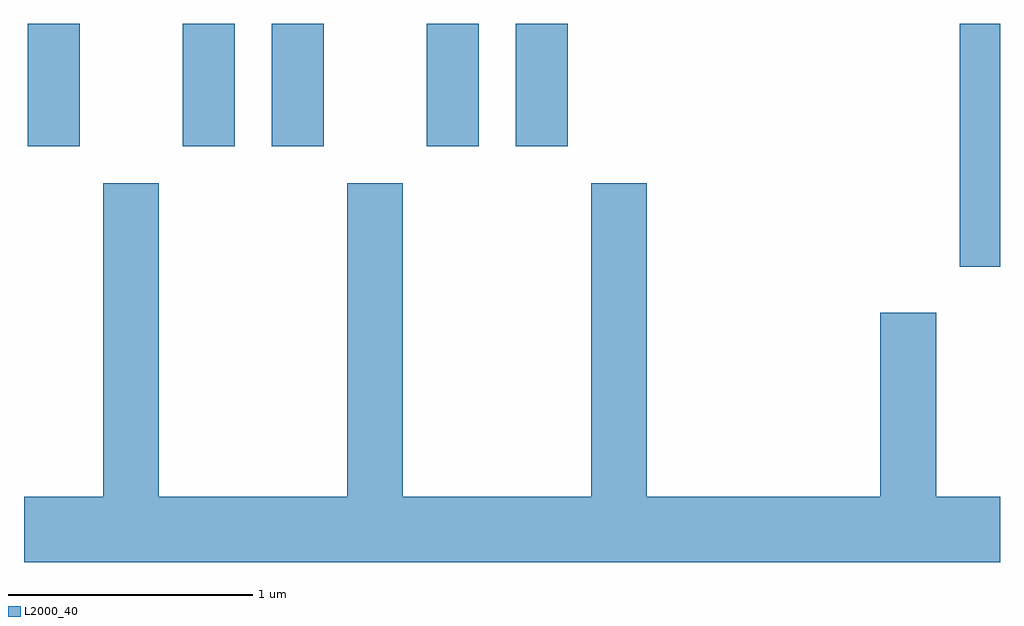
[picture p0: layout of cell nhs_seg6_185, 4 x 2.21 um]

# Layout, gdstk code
import gdstk
lib = gdstk.Library(unit=1e-6, precision=1e-09)
def R(c, l, rs):  # rectangles x0, y0, x1, y1
    for r in rs: c.add(gdstk.rectangle(r[:2], r[2:], *l))
def P(c, l, *ps):  # polygons
    for p in ps: c.add(gdstk.Polygon(p, *l))
L2000_40 = (2000, 40)

nhs_seg6_185 = lib.new_cell('nhs_seg6_185')
R(nhs_seg6_185, L2000_40, [(193.446,1631.166,193.611,1632.162), (189.626,1631.661,189.839,1632.162), (190.261,1631.661,190.474,1632.162), (190.626,1631.661,190.839,1632.162), (191.261,1631.661,191.474,1632.162), (191.626,1631.661,191.839,1632.162)])
P(nhs_seg6_185, L2000_40, [(193.611,1630.224),(193.349,1630.224),(193.349,1630.979),(193.121,1630.979),(193.121,1630.224),(192.164,1630.224),(192.164,1631.509),(191.936,1631.509),(191.936,1630.224),(191.164,1630.224),(191.164,1631.509),(190.936,1631.509),(190.936,1630.224),(190.164,1630.224),(190.164,1631.509),(189.936,1631.509),(189.936,1630.224),(189.611,1630.224),(189.611,1629.956),(193.611,1629.956)])

lib.write_gds('nhs_seg6_185.gds')
